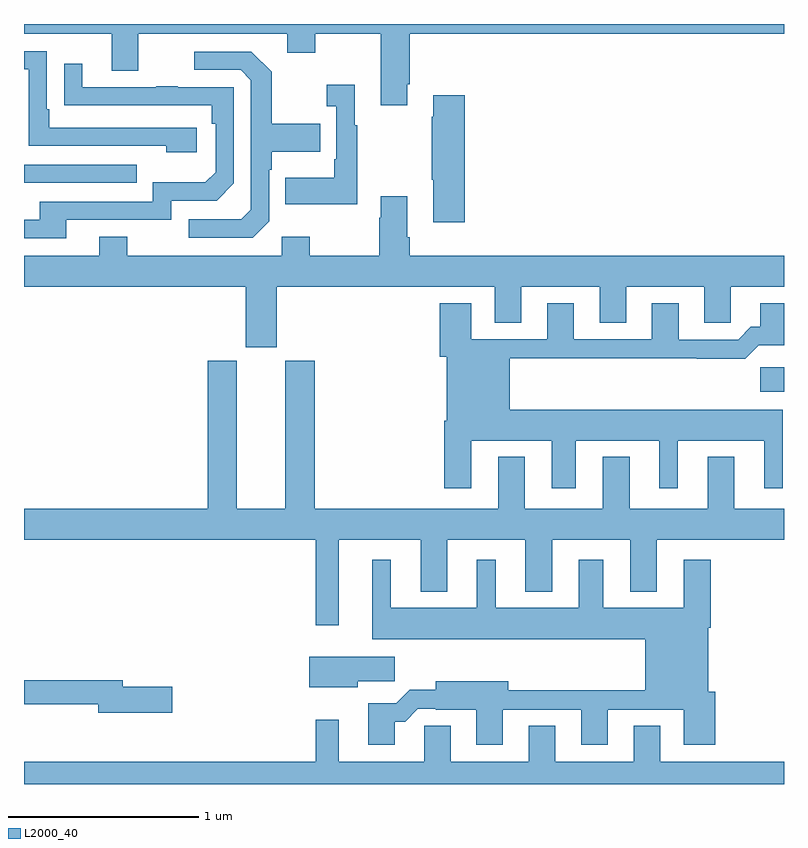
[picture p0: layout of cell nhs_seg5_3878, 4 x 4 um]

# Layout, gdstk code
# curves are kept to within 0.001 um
import gdstk
lib = gdstk.Library(unit=1e-6, precision=1e-09)
def R(c, l, rs):  # rectangles x0, y0, x1, y1
    for r in rs: c.add(gdstk.rectangle(r[:2], r[2:], *l))
def P(c, l, *ps):  # polygons
    for p in ps: c.add(gdstk.Polygon(p, *l))
L2000_40 = (2000, 40)

nhs_seg5_3878 = lib.new_cell('nhs_seg5_3878')
R(nhs_seg5_3878, L2000_40, [(342.876,866.864,343,866.993), (339,867.963,339.593,868.059)])
P(nhs_seg5_3878, L2000_40, [(341.017,868.483),(341.03,868.483),(341.03,868.748),(343,868.748),(343,868.799),(339,868.799),(339,868.748),(339.461,868.748),(339.461,868.554),(339.601,868.554),(339.601,868.748),(340.385,868.748),(340.385,868.649),(340.533,868.649),(340.533,868.748),(340.877,868.748),(340.877,868.371),(341.017,868.371)],
  [(339.91,868.254),(339.133,868.254),(339.133,868.351),(339.12,868.351),(339.12,868.656),(339,868.656),(339,868.56),(339.024,868.56),(339.024,868.158),(339.749,868.158),(339.749,868.124),(339.91,868.124)],
  [(340.29,867.762),(340.29,868.031),(340.303,868.031),(340.303,868.127),(340.559,868.127),(340.559,868.275),(340.303,868.275),(340.303,868.547),(340.197,868.653),(339.897,868.653),(339.897,868.557),(340.14,868.557),(340.194,868.503),(340.194,867.822),(340.143,867.771),(339.867,867.771),(339.867,867.675),(340.203,867.675)],
  [(339.223,867.768),(339.774,867.768),(339.774,867.87),(340.014,867.87),(340.104,867.96),(340.104,868.467),(339.809,868.467),(339.809,868.472),(339.697,868.472),(339.697,868.467),(339.307,868.467),(339.307,868.591),(339.211,868.591),(339.211,868.372),(339.988,868.371),(339.988,868.274),(340.008,868.274),(340.008,868.02),(339.955,867.967),(339.678,867.967),(339.678,867.864),(339.083,867.864),(339.083,867.768),(339,867.768),(339,867.672),(339.223,867.672)],
  [(340.753,868.267),(340.741,868.267),(340.741,868.48),(340.593,868.48),(340.593,868.367),(340.644,868.367),(340.644,868.087),(340.632,868.087),(340.632,867.991),(340.375,867.991),(340.375,867.851),(340.753,867.851)],
  [(341.321,868.423),(341.153,868.423),(341.153,868.31),(341.146,868.31),(341.146,867.979),(341.153,867.979),(341.153,867.756),(341.321,867.756)],
  [(340.33,867.416),(341.477,867.416),(341.477,867.226),(341.617,867.226),(341.617,867.416),(342.029,867.416),(342.029,867.226),(342.169,867.226),(342.169,867.416),(342.581,867.416),(342.581,867.226),(342.72,867.226),(342.72,867.416),(343,867.416),(343,867.58),(341.03,867.58),(341.03,867.676),(341.017,867.676),(341.017,867.892),(340.877,867.892),(340.877,867.779),(340.87,867.779),(340.87,867.58),(340.503,867.58),(340.503,867.679),(340.356,867.679),(340.356,867.58),(339.543,867.58),(339.543,867.679),(339.395,867.679),(339.395,867.58),(339,867.58),(339,867.416),(340.166,867.416),(340.166,867.099),(340.33,867.099)],
  [(341.353,866.606),(341.777,866.606),(341.777,866.355),(341.905,866.355),(341.905,866.606),(342.344,866.606),(342.344,866.355),(342.442,866.355),(342.442,866.606),(342.896,866.606),(342.896,866.355),(342.994,866.355),(342.994,866.77),(341.557,866.77),(341.557,867.04),(342.541,867.04),(342.541,867.038),(342.797,867.038),(342.866,867.107),(343,867.107),(343,867.328),(342.875,867.328),(342.875,867.205),(342.826,867.205),(342.759,867.138),(342.445,867.138),(342.445,867.328),(342.305,867.328),(342.305,867.141),(341.893,867.141),(341.893,867.328),(341.753,867.328),(341.753,867.141),(341.353,867.141),(341.353,867.328),(341.189,867.328),(341.189,867.048),(341.225,867.048),(341.225,866.71),(341.213,866.71),(341.213,866.355),(341.353,866.355)],
  [(340.657,866.084),(341.087,866.084),(341.087,865.811),(341.227,865.811),(341.227,866.084),(341.639,866.084),(341.639,865.811),(341.779,865.811),(341.779,866.084),(342.191,866.084),(342.191,865.811),(342.331,865.811),(342.331,866.084),(343,866.084),(343,866.248),(342.739,866.248),(342.739,866.521),(342.599,866.521),(342.599,866.248),(342.187,866.248),(342.187,866.521),(342.047,866.521),(342.047,866.248),(341.635,866.248),(341.635,866.521),(341.495,866.521),(341.495,866.248),(340.529,866.248),(340.529,867.027),(340.376,867.027),(340.376,866.248),(340.12,866.248),(340.12,867.027),(339.968,867.027),(339.968,866.248),(339,866.248),(339,866.084),(340.536,866.084),(340.536,865.635),(340.657,865.635)],
  [(340.951,865.127),(341.006,865.127),(341.073,865.194),(341.167,865.194),(341.167,865.191),(341.381,865.191),(341.381,865.005),(341.521,865.005),(341.521,865.191),(341.933,865.191),(341.933,865.005),(342.073,865.005),(342.073,865.191),(342.473,865.191),(342.473,865.005),(342.638,865.005),(342.638,865.284),(342.601,865.284),(342.601,865.622),(342.614,865.622),(342.614,865.978),(342.473,865.978),(342.473,865.726),(342.049,865.726),(342.049,865.978),(341.921,865.978),(341.921,865.726),(341.482,865.726),(341.482,865.978),(341.384,865.978),(341.384,865.726),(340.93,865.726),(340.93,865.978),(340.832,865.978),(340.832,865.562),(342.269,865.562),(342.269,865.292),(341.548,865.292),(341.548,865.339),(341.168,865.339),(341.168,865.295),(341.03,865.295),(340.96,865.225),(340.811,865.225),(340.811,865.005),(340.951,865.005)],
  [(340.756,865.339),(340.951,865.339),(340.951,865.468),(340.502,865.468),(340.502,865.307),(340.756,865.307)],
  [(339.781,865.31),(339.52,865.31),(339.52,865.346),(339,865.346),(339,865.218),(339.392,865.218),(339.392,865.175),(339.781,865.175)],
  [(343,864.916),(342.349,864.916),(342.349,865.106),(342.209,865.106),(342.209,864.916),(341.797,864.916),(341.797,865.106),(341.657,865.106),(341.657,864.916),(341.245,864.916),(341.245,865.106),(341.106,865.106),(341.106,864.916),(340.657,864.916),(340.657,865.138),(340.536,865.138),(340.536,864.916),(339,864.916),(339,864.799),(343,864.799)])

lib.write_gds('nhs_seg5_3878.gds')
